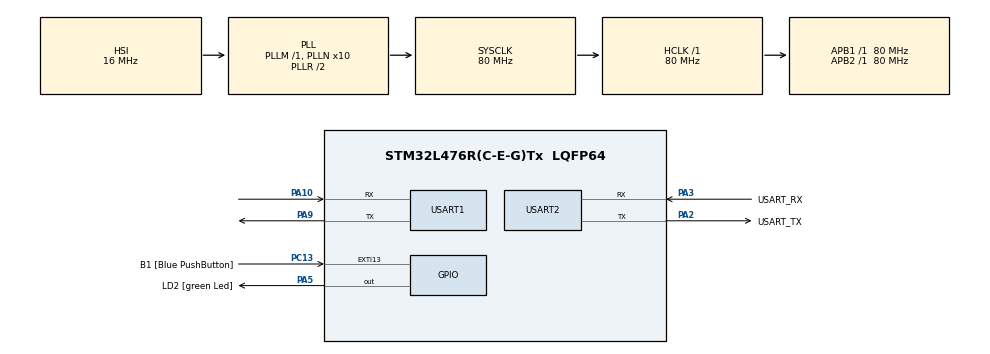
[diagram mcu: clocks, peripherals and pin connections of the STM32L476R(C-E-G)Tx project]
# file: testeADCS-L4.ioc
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Mcu.Family=STM32L4
Mcu.Name=STM32L476R(C-E-G)Tx
Mcu.Package=LQFP64
NVIC.PriorityGroup=NVIC_PRIORITYGROUP_4
NVIC.USART1_IRQn=true\:0\:0\:false\:false\:true\:true\:true\:true
NVIC.USART2_IRQn=true\:0\:0\:false\:false\:true\:true\:true\:true
PA10.Mode=Asynchronous
PA10.Signal=USART1_RX
PA13\ (JTMS-SWDIO).GPIO_Label=TMS
PA13\ (JTMS-SWDIO).Mode=Serial_Wire
PA13\ (JTMS-SWDIO).Signal=SYS_JTMS-SWDIO
PA14\ (JTCK-SWCLK).GPIO_Label=TCK
PA14\ (JTCK-SWCLK).Mode=Serial_Wire
PA14\ (JTCK-SWCLK).Signal=SYS_JTCK-SWCLK
PA2.GPIO_Label=USART_TX
PA2.GPIO_Mode=GPIO_MODE_AF_PP
PA2.GPIO_PuPd=GPIO_NOPULL
PA2.GPIO_Speed=GPIO_SPEED_FREQ_VERY_HIGH
PA2.Mode=Asynchronous
PA2.Signal=USART2_TX
PA3.GPIO_Label=USART_RX
PA3.GPIO_Mode=GPIO_MODE_AF_PP
PA3.GPIO_PuPd=GPIO_NOPULL
PA3.GPIO_Speed=GPIO_SPEED_FREQ_VERY_HIGH
PA3.Mode=Asynchronous
PA3.Signal=USART2_RX
PA5.GPIO_Label=LD2 [green Led]
PA5.GPIO_ModeDefaultOutputPP=GPIO_MODE_OUTPUT_PP
PA5.GPIO_PuPd=GPIO_NOPULL
PA5.GPIO_Speed=GPIO_SPEED_FREQ_LOW
PA5.Signal=GPIO_Output
PA9.Mode=Asynchronous
PA9.Signal=USART1_TX
PB3\ (JTDO-TRACESWO).GPIO_Label=SWO
PB3\ (JTDO-TRACESWO).Signal=SYS_JTDO-SWO
PC13.GPIO_Label=B1 [Blue PushButton]
PC13.GPIO_ModeDefaultEXTI=GPIO_MODE_IT_FALLING
PC13.GPIO_PuPd=GPIO_NOPULL
PC13.Signal=GPXTI13
PC14-OSC32_IN\ (PC14).Mode=LSE-External-Oscillator
PC14-OSC32_IN\ (PC14).Signal=RCC_OSC32_IN
PC15-OSC32_OUT\ (PC15).Mode=LSE-External-Oscillator
PC15-OSC32_OUT\ (PC15).Signal=RCC_OSC32_OUT
PH0-OSC_IN\ (PH0).Signal=RCC_OSC_IN
PH1-OSC_OUT\ (PH1).Signal=RCC_OSC_OUT
ProjectManager.HeapSize=0x200
ProjectManager.StackSize=0x400
ProjectManager.TargetToolchain=CMake
RCC.ADCFreq_Value=64000000
RCC.AHBFreq_Value=80000000
RCC.APB1Freq_Value=80000000
RCC.APB1TimFreq_Value=80000000
RCC.APB2Freq_Value=80000000
RCC.APB2TimFreq_Value=80000000
RCC.CortexFreq_Value=80000000
RCC.HCLKFreq_Value=80000000
RCC.HSE_VALUE=8000000
RCC.HSI_VALUE=16000000
RCC.MSI_VALUE=4000000
RCC.PLLN=10
RCC.PLLSourceVirtual=RCC_PLLSOURCE_HSI
RCC.PREFETCH_ENABLE=1
RCC.SYSCLKFreq_VALUE=80000000
RCC.SYSCLKSource=RCC_SYSCLKSOURCE_PLLCLK
RCC.USBFreq_Value=64000000
RCC.VCOOutputFreq_Value=160000000
USART1.VirtualMode-Asynchronous=VM_ASYNC
USART2.VirtualMode-Asynchronous=VM_ASYNC
board=NUCLEO-L476RG

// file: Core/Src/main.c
/* USER CODE BEGIN Header */
/**
  ******************************************************************************
  * @file           : main.c
  * @brief          : Main program body
  ******************************************************************************
  * @attention
  *
  * Copyright (c) 2026 STMicroelectronics.
  * All rights reserved.
  *
  * This software is licensed under terms that can be found in the LICENSE file
  * in the root directory of this software component.
  * If no LICENSE file comes with this software, it is provided AS-IS.
  *
  ******************************************************************************
  */
/* USER CODE END Header */
#include "main.h"

/* USER CODE BEGIN Includes */
#include <string.h>
#include <stdio.h>
#include <stdlib.h>
#include <uchar.h>
/* USER CODE END Includes */

UART_HandleTypeDef huart1;
UART_HandleTypeDef huart2;

/* USER CODE BEGIN PV */
char comandoTerra[2] = "0"; // char
uint8_t comandoADCS[1]; // inteiro
uint8_t novoComando = 0;
char angulo[6] = "143.8"; // char

/* USER CODE END PV */

void SystemClock_Config(void);
static void MX_GPIO_Init(void);
static void MX_USART1_UART_Init(void);
static void MX_USART2_UART_Init(void);

int main(void)
{

  /* MCU Configuration--------------------------------------------------------*/

  /* Reset of all peripherals, Initializes the Flash interface and the Systick. */
  HAL_Init();

  /* Configure the system clock */
  SystemClock_Config();

  /* Initialize all configured peripherals */
  MX_GPIO_Init();
  MX_USART1_UART_Init();
  MX_USART2_UART_Init();

  /* Infinite loop */
  /* USER CODE BEGIN WHILE */
     HAL_UART_Receive_IT(&huart2, (uint8_t*)comandoTerra, sizeof(comandoTerra) - 1);
     HAL_UART_Receive_IT(&huart1, (uint8_t*)angulo, sizeof(angulo) - 1);
 while (1)
  {
    comandoADCS[0] = atoi(comandoTerra);

    if(novoComando == 1) {
      novoComando = 0;
      HAL_UART_Transmit(&huart1,comandoADCS, sizeof(comandoADCS), 1000);
    }

    printf("\r\n Enviou: ");
    printf("%s", comandoTerra);
    printf(", convertido como: ");
    printf("%d", comandoADCS[0]);
    printf("\r\n Recebeu: ");
    printf("%s", angulo);
    HAL_Delay(1000);

    /* USER CODE END WHILE */

  }
}

void SystemClock_Config(void)
{
  RCC_OscInitTypeDef RCC_OscInitStruct = {0};
  RCC_ClkInitTypeDef RCC_ClkInitStruct = {0};

  /** Configure the main internal regulator output voltage
  */
  if (HAL_PWREx_ControlVoltageScaling(PWR_REGULATOR_VOLTAGE_SCALE1) != HAL_OK)
  {
    Error_Handler();
  }

  /** Initializes the RCC Oscillators according to the specified parameters
  * in the RCC_OscInitTypeDef structure.
  */
  RCC_OscInitStruct.OscillatorType = RCC_OSCILLATORTYPE_HSI;
  RCC_OscInitStruct.HSIState = RCC_HSI_ON;
  RCC_OscInitStruct.HSICalibrationValue = RCC_HSICALIBRATION_DEFAULT;
  RCC_OscInitStruct.PLL.PLLState = RCC_PLL_ON;
  RCC_OscInitStruct.PLL.PLLSource = RCC_PLLSOURCE_HSI;
  RCC_OscInitStruct.PLL.PLLM = 1;
  RCC_OscInitStruct.PLL.PLLN = 10;
  RCC_OscInitStruct.PLL.PLLP = RCC_PLLP_DIV7;
  RCC_OscInitStruct.PLL.PLLQ = RCC_PLLQ_DIV2;
  RCC_OscInitStruct.PLL.PLLR = RCC_PLLR_DIV2;
  if (HAL_RCC_OscConfig(&RCC_OscInitStruct) != HAL_OK)
  {
    Error_Handler();
  }

  /** Initializes the CPU, AHB and APB buses clocks
  */
  RCC_ClkInitStruct.ClockType = RCC_CLOCKTYPE_HCLK|RCC_CLOCKTYPE_SYSCLK
                              |RCC_CLOCKTYPE_PCLK1|RCC_CLOCKTYPE_PCLK2;
  RCC_ClkInitStruct.SYSCLKSource = RCC_SYSCLKSOURCE_PLLCLK;
  RCC_ClkInitStruct.AHBCLKDivider = RCC_SYSCLK_DIV1;
  RCC_ClkInitStruct.APB1CLKDivider = RCC_HCLK_DIV1;
  RCC_ClkInitStruct.APB2CLKDivider = RCC_HCLK_DIV1;

  if (HAL_RCC_ClockConfig(&RCC_ClkInitStruct, FLASH_LATENCY_4) != HAL_OK)
  {
    Error_Handler();
  }
}

static void MX_USART1_UART_Init(void)
{

  huart1.Instance = USART1;
  huart1.Init.BaudRate = 115200;
  huart1.Init.WordLength = UART_WORDLENGTH_8B;
  huart1.Init.StopBits = UART_STOPBITS_1;
  huart1.Init.Parity = UART_PARITY_NONE;
  huart1.Init.Mode = UART_MODE_TX_RX;
  huart1.Init.HwFlowCtl = UART_HWCONTROL_NONE;
  huart1.Init.OverSampling = UART_OVERSAMPLING_16;
  huart1.Init.OneBitSampling = UART_ONE_BIT_SAMPLE_DISABLE;
  huart1.AdvancedInit.AdvFeatureInit = UART_ADVFEATURE_NO_INIT;
  if (HAL_UART_Init(&huart1) != HAL_OK)
  {
    Error_Handler();
  }

}

static void MX_USART2_UART_Init(void)
{

  huart2.Instance = USART2;
  huart2.Init.BaudRate = 115200;
  huart2.Init.WordLength = UART_WORDLENGTH_8B;
  huart2.Init.StopBits = UART_STOPBITS_1;
  huart2.Init.Parity = UART_PARITY_NONE;
  huart2.Init.Mode = UART_MODE_TX_RX;
  huart2.Init.HwFlowCtl = UART_HWCONTROL_NONE;
  huart2.Init.OverSampling = UART_OVERSAMPLING_16;
  huart2.Init.OneBitSampling = UART_ONE_BIT_SAMPLE_DISABLE;
  huart2.AdvancedInit.AdvFeatureInit = UART_ADVFEATURE_NO_INIT;
  if (HAL_UART_Init(&huart2) != HAL_OK)
  {
    Error_Handler();
  }

}

static void MX_GPIO_Init(void)
{
  GPIO_InitTypeDef GPIO_InitStruct = {0};

  /* GPIO Ports Clock Enable */
  __HAL_RCC_GPIOC_CLK_ENABLE();
  __HAL_RCC_GPIOH_CLK_ENABLE();
  __HAL_RCC_GPIOA_CLK_ENABLE();
  __HAL_RCC_GPIOB_CLK_ENABLE();

  /*Configure GPIO pin Output Level */
  HAL_GPIO_WritePin(LD2_GPIO_Port, LD2_Pin, GPIO_PIN_RESET);

  /*Configure GPIO pin : B1_Pin */
  GPIO_InitStruct.Pin = B1_Pin;
  GPIO_InitStruct.Mode = GPIO_MODE_IT_FALLING;
  GPIO_InitStruct.Pull = GPIO_NOPULL;
  HAL_GPIO_Init(B1_GPIO_Port, &GPIO_InitStruct);

  /*Configure GPIO pin : LD2_Pin */
  GPIO_InitStruct.Pin = LD2_Pin;
  GPIO_InitStruct.Mode = GPIO_MODE_OUTPUT_PP;
  GPIO_InitStruct.Pull = GPIO_NOPULL;
  GPIO_InitStruct.Speed = GPIO_SPEED_FREQ_LOW;
  HAL_GPIO_Init(LD2_GPIO_Port, &GPIO_InitStruct);

}

/* USER CODE BEGIN 4 */
void HAL_UART_RxCpltCallback(UART_HandleTypeDef *huart)
{
    if (huart->Instance == huart2.Instance)
    {
        novoComando = 1;    // avisa loop que teve mensagem nova
        HAL_UART_Receive_IT(&huart2, (uint8_t*)comandoTerra, sizeof(comandoTerra) - 1);        // deixa pronto pra receber de novo
    }

    if (huart->Instance == huart1.Instance)
    {
      HAL_UART_Receive_IT(&huart1, (uint8_t*)angulo, sizeof(angulo) - 1);        // deixa pronto pra receber de novo
    }
}

int __io_putchar (int ch) {
	HAL_UART_Transmit(&huart2, (uint8_t*)&ch, 1, HAL_MAX_DELAY);
	return ch;
	}
/* USER CODE END 4 */

void Error_Handler(void)
{
  __disable_irq();
  while (1)
  {
  }
}
